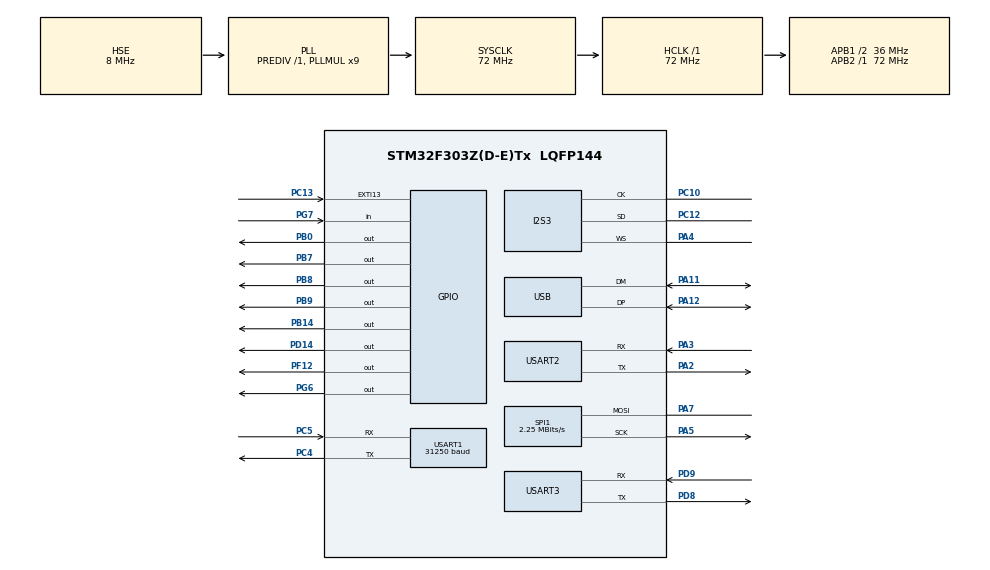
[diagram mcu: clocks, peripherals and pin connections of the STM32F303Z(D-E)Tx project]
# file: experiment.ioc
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I2S3.AudioFreq=I2S_AUDIOFREQ_44K
I2S3.ErrorAudioFreq=0.26 %
I2S3.FullDuplexMode=I2S_FULLDUPLEXMODE_DISABLE
I2S3.Instance=SPI$Index
I2S3.RealAudioFreq=44.117 KHz
I2S3.Standard=I2S_STANDARD_MSB
I2S3.VirtualMode=I2S_MODE_MASTER
Mcu.Family=STM32F3
Mcu.Name=STM32F303Z(D-E)Tx
Mcu.Package=LQFP144
NVIC.PriorityGroup=NVIC_PRIORITYGROUP_4
NVIC.USART1_IRQn=true\:0\:0\:false\:false\:true\:true\:true
NVIC.USB_LP_CAN_RX0_IRQn=true\:0\:0\:false\:false\:true\:true\:true
PA11.Mode=Device
PA11.Signal=USB_DM
PA12.Mode=Device
PA12.Signal=USB_DP
PA13.Mode=Serial_Wire
PA13.Signal=SYS_JTMS-SWDIO
PA14.Mode=Serial_Wire
PA14.Signal=SYS_JTCK-SWCLK
PA2.Mode=Asynchronous
PA2.Signal=USART2_TX
PA3.Mode=Asynchronous
PA3.Signal=USART2_RX
PA4.Mode=Half_Duplex_Master
PA4.Signal=I2S3_WS
PA5.Mode=Simplex_Bidirectional_Master
PA5.Signal=SPI1_SCK
PA6.Signal=SPI1_MISO
PA7.Mode=Simplex_Bidirectional_Master
PA7.Signal=SPI1_MOSI
PB0.GPIO_ModeDefaultOutputPP=GPIO_MODE_OUTPUT_PP
PB0.GPIO_PuPd=GPIO_NOPULL
PB0.GPIO_Speed=GPIO_SPEED_FREQ_LOW
PB0.PinState=GPIO_PIN_RESET
PB0.Signal=GPIO_Output
PB14.GPIO_ModeDefaultOutputPP=GPIO_MODE_OUTPUT_PP
PB14.GPIO_PuPd=GPIO_NOPULL
PB14.GPIO_Speed=GPIO_SPEED_FREQ_LOW
PB14.PinState=GPIO_PIN_RESET
PB14.Signal=GPIO_Output
PB3.Signal=SYS_JTDO-TRACESWO
PB7.GPIO_FM7=__NULL
PB7.GPIO_ModeDefaultOutputPP=GPIO_MODE_OUTPUT_PP
PB7.GPIO_PuPd=GPIO_NOPULL
PB7.GPIO_Speed=GPIO_SPEED_FREQ_LOW
PB7.PinState=GPIO_PIN_RESET
PB7.Signal=GPIO_Output
PB8.Signal=GPIO_Output
PB9.Signal=GPIO_Output
PC10.Mode=Half_Duplex_Master
PC10.Signal=I2S3_CK
PC12.Mode=Half_Duplex_Master
PC12.Signal=I2S3_SD
PC13.GPIO_ModeDefaultEXTI=GPIO_MODE_IT_RISING
PC13.GPIO_PuPd=GPIO_NOPULL
PC13.Signal=GPXTI13
PC14-OSC32_IN.Mode=LSE-External-Oscillator
PC14-OSC32_IN.Signal=RCC_OSC32_IN
PC15-OSC32_OUT.Mode=LSE-External-Oscillator
PC15-OSC32_OUT.Signal=RCC_OSC32_OUT
PC4.Mode=Asynchronous
PC4.Signal=USART1_TX
PC5.Mode=Asynchronous
PC5.Signal=USART1_RX
PD14.Signal=GPIO_Output
PD8.GPIO_ModeDefaultPP=GPIO_MODE_AF_PP
PD8.GPIO_PuPd=GPIO_NOPULL
PD8.GPIO_Speed=GPIO_SPEED_FREQ_HIGH
PD8.Mode=Asynchronous
PD8.Signal=USART3_TX
PD9.GPIO_ModeDefaultPP=GPIO_MODE_AF_PP
PD9.GPIO_PuPd=GPIO_NOPULL
PD9.GPIO_Speed=GPIO_SPEED_FREQ_HIGH
PD9.Mode=Asynchronous
PD9.Signal=USART3_RX
PF0-OSC_IN.Mode=HSE-External-Clock-Source
PF0-OSC_IN.Signal=RCC_OSC_IN
PF12.Signal=GPIO_Output
PG6.GPIO_ModeDefaultOutputPP=GPIO_MODE_OUTPUT_PP
PG6.GPIO_PuPd=GPIO_NOPULL
PG6.GPIO_Speed=GPIO_SPEED_FREQ_LOW
PG6.PinState=GPIO_PIN_RESET
PG6.Signal=GPIO_Output
PG7.GPIO_Mode=GPIO_MODE_INPUT
PG7.GPIO_PuPd=GPIO_NOPULL
PG7.Signal=GPIO_Input
ProjectManager.HeapSize=0x200
ProjectManager.StackSize=0x400
ProjectManager.TargetToolchain=STM32CubeIDE
RCC.AHBFreq_Value=72000000
RCC.APB1CLKDivider=RCC_HCLK_DIV2
RCC.APB1Freq_Value=36000000
RCC.APB1TimFreq_Value=72000000
RCC.APB2Freq_Value=72000000
RCC.APB2TimFreq_Value=72000000
RCC.CortexFreq_Value=72000000
RCC.HCLKFreq_Value=72000000
RCC.HSE_VALUE=8000000
RCC.HSI_VALUE=8000000
RCC.PLLMUL=RCC_PLL_MUL9
RCC.PRESCALERUSB=RCC_USBCLKSOURCE_PLL_DIV1_5
RCC.SYSCLKFreq_VALUE=72000000
RCC.SYSCLKSourceVirtual=RCC_SYSCLKSOURCE_PLLCLK
RCC.USBFreq_Value=48000000
SPI1.BaudRatePrescaler=SPI_BAUDRATEPRESCALER_32
SPI1.CLKPhase=SPI_PHASE_1EDGE
SPI1.CLKPolarity=SPI_POLARITY_LOW
SPI1.CalculateBaudRate=2.25 MBits/s
SPI1.DataSize=SPI_DATASIZE_8BIT
SPI1.Direction=SPI_DIRECTION_1LINE
SPI1.Mode=SPI_MODE_MASTER
SPI1.NSSPMode=SPI_NSS_PULSE_DISABLE
SPI1.VirtualType=VM_MASTER
USART1.BaudRate=31250
USART1.VirtualMode-Asynchronous=VM_ASYNC
USART2.VirtualMode-Asynchronous=VM_ASYNC
USART3.VirtualMode-Asynchronous=VM_ASYNC
VP_RTC_VS_RTC_Activate.Mode=RTC_Enabled
board=NUCLEO-F303ZE

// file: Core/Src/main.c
/* USER CODE BEGIN Header */
/**
  ******************************************************************************
  * @file           : main.c
  * @brief          : Main program body
  ******************************************************************************
  * @attention
  *
  * <h2><center>&copy; Copyright (c) 2020 STMicroelectronics.
  * All rights reserved.</center></h2>
  *
  * This software component is licensed by ST under BSD 3-Clause license,
  * the "License"; You may not use this file except in compliance with the
  * License. You may obtain a copy of the License at:
  *                        opensource.org/licenses/BSD-3-Clause
  *
  ******************************************************************************
  */
/* USER CODE END Header */

#include "main.h"

/* USER CODE BEGIN Includes */
#include "../Console/console.h"
#include "../MIDI/midi.h"

/* USER CODE END Includes */

I2S_HandleTypeDef hi2s3;

RTC_HandleTypeDef hrtc;

SPI_HandleTypeDef hspi1;

UART_HandleTypeDef huart1;
UART_HandleTypeDef huart2;
UART_HandleTypeDef huart3;

PCD_HandleTypeDef hpcd_USB_FS;

void SystemClock_Config(void);
static void MX_GPIO_Init(void);
static void MX_RTC_Init(void);
static void MX_USART3_UART_Init(void);
static void MX_USB_PCD_Init(void);
static void MX_USART1_UART_Init(void);
static void MX_USART2_UART_Init(void);
static void MX_SPI1_Init(void);
static void MX_I2S3_Init(void);

/* USER CODE BEGIN 0 */
int _write(int file, char *outgoing, int len) {
   HAL_UART_Transmit(&huart3, outgoing, len, 100);
   return len;
}

int _read(int file, char *result, size_t len) {
    HAL_StatusTypeDef status;
    int retcode = 0;

    if (len != 0) {
        status = HAL_UART_Receive( &huart3, (uint8_t *) result, len, HAL_MAX_DELAY);

        if (status == HAL_OK) {
            retcode = len;
        } else {
            retcode = -1;
        }
    }
    return( retcode);
}

/* USER CODE END 0 */

int main(void)
{

  /* MCU Configuration--------------------------------------------------------*/

  /* Reset of all peripherals, Initializes the Flash interface and the Systick. */
  HAL_Init();

  /* USER CODE BEGIN Init */
  MIDI_Init(&huart1, &huart1);

  /* USER CODE END Init */

  /* Configure the system clock */
  SystemClock_Config();

  /* Initialize all configured peripherals */
  MX_GPIO_Init();
  MX_RTC_Init();
  MX_USART3_UART_Init();
  MX_USB_PCD_Init();
  MX_USART1_UART_Init();
  MX_USART2_UART_Init();
  MX_SPI1_Init();
  MX_I2S3_Init();

  /* Infinite loop */
  /* USER CODE BEGIN WHILE */
  test1();
  ConsoleInit(&huart3);
  MIDI_Interrupt_Receive_Begin();
  while (1)
  {
    /* USER CODE END WHILE */

    /* USER CODE BEGIN 3 */
	MIDI_Application_Process();
	ConsoleProcess();
  }
  /* USER CODE END 3 */
}

void SystemClock_Config(void)
{
  RCC_OscInitTypeDef RCC_OscInitStruct = {0};
  RCC_ClkInitTypeDef RCC_ClkInitStruct = {0};
  RCC_PeriphCLKInitTypeDef PeriphClkInit = {0};

  /** Initializes the CPU, AHB and APB busses clocks
  */
  RCC_OscInitStruct.OscillatorType = RCC_OSCILLATORTYPE_LSI|RCC_OSCILLATORTYPE_HSE;
  RCC_OscInitStruct.HSEState = RCC_HSE_BYPASS;
  RCC_OscInitStruct.HSIState = RCC_HSI_ON;
  RCC_OscInitStruct.LSIState = RCC_LSI_ON;
  RCC_OscInitStruct.PLL.PLLState = RCC_PLL_ON;
  RCC_OscInitStruct.PLL.PLLSource = RCC_PLLSOURCE_HSE;
  RCC_OscInitStruct.PLL.PLLMUL = RCC_PLL_MUL9;
  RCC_OscInitStruct.PLL.PREDIV = RCC_PREDIV_DIV1;
  if (HAL_RCC_OscConfig(&RCC_OscInitStruct) != HAL_OK)
  {
    Error_Handler();
  }
  /** Initializes the CPU, AHB and APB busses clocks
  */
  RCC_ClkInitStruct.ClockType = RCC_CLOCKTYPE_HCLK|RCC_CLOCKTYPE_SYSCLK
                              |RCC_CLOCKTYPE_PCLK1|RCC_CLOCKTYPE_PCLK2;
  RCC_ClkInitStruct.SYSCLKSource = RCC_SYSCLKSOURCE_PLLCLK;
  RCC_ClkInitStruct.AHBCLKDivider = RCC_SYSCLK_DIV1;
  RCC_ClkInitStruct.APB1CLKDivider = RCC_HCLK_DIV2;
  RCC_ClkInitStruct.APB2CLKDivider = RCC_HCLK_DIV1;

  if (HAL_RCC_ClockConfig(&RCC_ClkInitStruct, FLASH_LATENCY_2) != HAL_OK)
  {
    Error_Handler();
  }
  PeriphClkInit.PeriphClockSelection = RCC_PERIPHCLK_USB|RCC_PERIPHCLK_I2S
                              |RCC_PERIPHCLK_USART1|RCC_PERIPHCLK_USART2
                              |RCC_PERIPHCLK_USART3|RCC_PERIPHCLK_RTC;
  PeriphClkInit.Usart1ClockSelection = RCC_USART1CLKSOURCE_PCLK2;
  PeriphClkInit.Usart2ClockSelection = RCC_USART2CLKSOURCE_PCLK1;
  PeriphClkInit.Usart3ClockSelection = RCC_USART3CLKSOURCE_PCLK1;
  PeriphClkInit.I2sClockSelection = RCC_I2SCLKSOURCE_SYSCLK;
  PeriphClkInit.RTCClockSelection = RCC_RTCCLKSOURCE_LSI;
  PeriphClkInit.USBClockSelection = RCC_USBCLKSOURCE_PLL_DIV1_5;
  if (HAL_RCCEx_PeriphCLKConfig(&PeriphClkInit) != HAL_OK)
  {
    Error_Handler();
  }
}

static void MX_I2S3_Init(void)
{

  hi2s3.Instance = SPI3;
  hi2s3.Init.Mode = I2S_MODE_MASTER_TX;
  hi2s3.Init.Standard = I2S_STANDARD_MSB;
  hi2s3.Init.DataFormat = I2S_DATAFORMAT_16B;
  hi2s3.Init.MCLKOutput = I2S_MCLKOUTPUT_DISABLE;
  hi2s3.Init.AudioFreq = I2S_AUDIOFREQ_44K;
  hi2s3.Init.CPOL = I2S_CPOL_LOW;
  hi2s3.Init.ClockSource = I2S_CLOCK_SYSCLK;
  hi2s3.Init.FullDuplexMode = I2S_FULLDUPLEXMODE_DISABLE;
  if (HAL_I2S_Init(&hi2s3) != HAL_OK)
  {
    Error_Handler();
  }

}

static void MX_RTC_Init(void)
{

  /** Initialize RTC Only
  */
  hrtc.Instance = RTC;
  hrtc.Init.HourFormat = RTC_HOURFORMAT_24;
  hrtc.Init.AsynchPrediv = 127;
  hrtc.Init.SynchPrediv = 255;
  hrtc.Init.OutPut = RTC_OUTPUT_DISABLE;
  hrtc.Init.OutPutPolarity = RTC_OUTPUT_POLARITY_HIGH;
  hrtc.Init.OutPutType = RTC_OUTPUT_TYPE_OPENDRAIN;
  if (HAL_RTC_Init(&hrtc) != HAL_OK)
  {
    Error_Handler();
  }

}

static void MX_SPI1_Init(void)
{

  /* SPI1 parameter configuration*/
  hspi1.Instance = SPI1;
  hspi1.Init.Mode = SPI_MODE_MASTER;
  hspi1.Init.Direction = SPI_DIRECTION_1LINE;
  hspi1.Init.DataSize = SPI_DATASIZE_8BIT;
  hspi1.Init.CLKPolarity = SPI_POLARITY_LOW;
  hspi1.Init.CLKPhase = SPI_PHASE_1EDGE;
  hspi1.Init.NSS = SPI_NSS_SOFT;
  hspi1.Init.BaudRatePrescaler = SPI_BAUDRATEPRESCALER_32;
  hspi1.Init.FirstBit = SPI_FIRSTBIT_MSB;
  hspi1.Init.TIMode = SPI_TIMODE_DISABLE;
  hspi1.Init.CRCCalculation = SPI_CRCCALCULATION_DISABLE;
  hspi1.Init.CRCPolynomial = 7;
  hspi1.Init.CRCLength = SPI_CRC_LENGTH_DATASIZE;
  hspi1.Init.NSSPMode = SPI_NSS_PULSE_DISABLE;
  if (HAL_SPI_Init(&hspi1) != HAL_OK)
  {
    Error_Handler();
  }

}

static void MX_USART1_UART_Init(void)
{

  huart1.Instance = USART1;
  huart1.Init.BaudRate = 31250;
  huart1.Init.WordLength = UART_WORDLENGTH_8B;
  huart1.Init.StopBits = UART_STOPBITS_1;
  huart1.Init.Parity = UART_PARITY_NONE;
  huart1.Init.Mode = UART_MODE_TX_RX;
  huart1.Init.HwFlowCtl = UART_HWCONTROL_NONE;
  huart1.Init.OverSampling = UART_OVERSAMPLING_16;
  huart1.Init.OneBitSampling = UART_ONE_BIT_SAMPLE_DISABLE;
  huart1.AdvancedInit.AdvFeatureInit = UART_ADVFEATURE_NO_INIT;
  if (HAL_UART_Init(&huart1) != HAL_OK)
  {
    Error_Handler();
  }

}

static void MX_USART2_UART_Init(void)
{

  huart2.Instance = USART2;
  huart2.Init.BaudRate = 38400;
  huart2.Init.WordLength = UART_WORDLENGTH_8B;
  huart2.Init.StopBits = UART_STOPBITS_1;
  huart2.Init.Parity = UART_PARITY_NONE;
  huart2.Init.Mode = UART_MODE_TX_RX;
  huart2.Init.HwFlowCtl = UART_HWCONTROL_NONE;
  huart2.Init.OverSampling = UART_OVERSAMPLING_16;
  huart2.Init.OneBitSampling = UART_ONE_BIT_SAMPLE_DISABLE;
  huart2.AdvancedInit.AdvFeatureInit = UART_ADVFEATURE_NO_INIT;
  if (HAL_UART_Init(&huart2) != HAL_OK)
  {
    Error_Handler();
  }

}

static void MX_USART3_UART_Init(void)
{

  huart3.Instance = USART3;
  huart3.Init.BaudRate = 38400;
  huart3.Init.WordLength = UART_WORDLENGTH_8B;
  huart3.Init.StopBits = UART_STOPBITS_1;
  huart3.Init.Parity = UART_PARITY_NONE;
  huart3.Init.Mode = UART_MODE_TX_RX;
  huart3.Init.HwFlowCtl = UART_HWCONTROL_NONE;
  huart3.Init.OverSampling = UART_OVERSAMPLING_16;
  huart3.Init.OneBitSampling = UART_ONE_BIT_SAMPLE_DISABLE;
  huart3.AdvancedInit.AdvFeatureInit = UART_ADVFEATURE_NO_INIT;
  if (HAL_UART_Init(&huart3) != HAL_OK)
  {
    Error_Handler();
  }

}

static void MX_USB_PCD_Init(void)
{

  hpcd_USB_FS.Instance = USB;
  hpcd_USB_FS.Init.dev_endpoints = 8;
  hpcd_USB_FS.Init.speed = PCD_SPEED_FULL;
  hpcd_USB_FS.Init.phy_itface = PCD_PHY_EMBEDDED;
  hpcd_USB_FS.Init.low_power_enable = DISABLE;
  hpcd_USB_FS.Init.lpm_enable = DISABLE;
  hpcd_USB_FS.Init.battery_charging_enable = DISABLE;
  if (HAL_PCD_Init(&hpcd_USB_FS) != HAL_OK)
  {
    Error_Handler();
  }

}

static void MX_GPIO_Init(void)
{
  GPIO_InitTypeDef GPIO_InitStruct = {0};

  /* GPIO Ports Clock Enable */
  __HAL_RCC_GPIOC_CLK_ENABLE();
  __HAL_RCC_GPIOF_CLK_ENABLE();
  __HAL_RCC_GPIOA_CLK_ENABLE();
  __HAL_RCC_GPIOB_CLK_ENABLE();
  __HAL_RCC_GPIOD_CLK_ENABLE();
  __HAL_RCC_GPIOG_CLK_ENABLE();

  /*Configure GPIO pin Output Level */
  HAL_GPIO_WritePin(GPIOB, GPIO_PIN_0|GPIO_PIN_14|GPIO_PIN_7|GPIO_PIN_8
                          |GPIO_PIN_9, GPIO_PIN_RESET);

  /*Configure GPIO pin Output Level */
  HAL_GPIO_WritePin(GPIOF, GPIO_PIN_12, GPIO_PIN_RESET);

  /*Configure GPIO pin Output Level */
  HAL_GPIO_WritePin(GPIOD, GPIO_PIN_14, GPIO_PIN_RESET);

  /*Configure GPIO pin Output Level */
  HAL_GPIO_WritePin(GPIOG, GPIO_PIN_6, GPIO_PIN_RESET);

  /*Configure GPIO pin : PC13 */
  GPIO_InitStruct.Pin = GPIO_PIN_13;
  GPIO_InitStruct.Mode = GPIO_MODE_IT_RISING;
  GPIO_InitStruct.Pull = GPIO_NOPULL;
  HAL_GPIO_Init(GPIOC, &GPIO_InitStruct);

  /*Configure GPIO pins : PB0 PB14 PB7 PB8
                           PB9 */
  GPIO_InitStruct.Pin = GPIO_PIN_0|GPIO_PIN_14|GPIO_PIN_7|GPIO_PIN_8
                          |GPIO_PIN_9;
  GPIO_InitStruct.Mode = GPIO_MODE_OUTPUT_PP;
  GPIO_InitStruct.Pull = GPIO_NOPULL;
  GPIO_InitStruct.Speed = GPIO_SPEED_FREQ_LOW;
  HAL_GPIO_Init(GPIOB, &GPIO_InitStruct);

  /*Configure GPIO pin : PF12 */
  GPIO_InitStruct.Pin = GPIO_PIN_12;
  GPIO_InitStruct.Mode = GPIO_MODE_OUTPUT_PP;
  GPIO_InitStruct.Pull = GPIO_NOPULL;
  GPIO_InitStruct.Speed = GPIO_SPEED_FREQ_LOW;
  HAL_GPIO_Init(GPIOF, &GPIO_InitStruct);

  /*Configure GPIO pin : PD14 */
  GPIO_InitStruct.Pin = GPIO_PIN_14;
  GPIO_InitStruct.Mode = GPIO_MODE_OUTPUT_PP;
  GPIO_InitStruct.Pull = GPIO_NOPULL;
  GPIO_InitStruct.Speed = GPIO_SPEED_FREQ_LOW;
  HAL_GPIO_Init(GPIOD, &GPIO_InitStruct);

  /*Configure GPIO pin : PG6 */
  GPIO_InitStruct.Pin = GPIO_PIN_6;
  GPIO_InitStruct.Mode = GPIO_MODE_OUTPUT_PP;
  GPIO_InitStruct.Pull = GPIO_NOPULL;
  GPIO_InitStruct.Speed = GPIO_SPEED_FREQ_LOW;
  HAL_GPIO_Init(GPIOG, &GPIO_InitStruct);

  /*Configure GPIO pin : PG7 */
  GPIO_InitStruct.Pin = GPIO_PIN_7;
  GPIO_InitStruct.Mode = GPIO_MODE_INPUT;
  GPIO_InitStruct.Pull = GPIO_NOPULL;
  HAL_GPIO_Init(GPIOG, &GPIO_InitStruct);

}

/* USER CODE BEGIN 4 */
/**
  * @brief Rx Transfer completed callbacks
  * @param huart: uart handle
  * @retval None
  */
void HAL_UART_RxCpltCallback(UART_HandleTypeDef *huart)
{
  /* Prevent unused argument(s) compilation warning */
  UNUSED(huart);
  MIDI_Interrupt_Receive();
  MIDI_Interrupt_Receive_Begin();
}

/**
  * @brief Tx Transfer completed callbacks
  * @param huart: uart handle
  * @retval None
  */
void HAL_UART_TxCpltCallback(UART_HandleTypeDef *huart)
{
  /* Prevent unused argument(s) compilation warning */
  UNUSED(huart);
  MIDI_Interrupt_Transmit_End();
}

/*
 *
 */
HAL_UART_ErrorCallback(UART_HandleTypeDef *huart)
{
	UNUSED(huart);
	MIDI_Log_Error();
}

/* USER CODE END 4 */

void Error_Handler(void)
{
}

/************************ (C) COPYRIGHT STMicroelectronics *****END OF FILE****/
